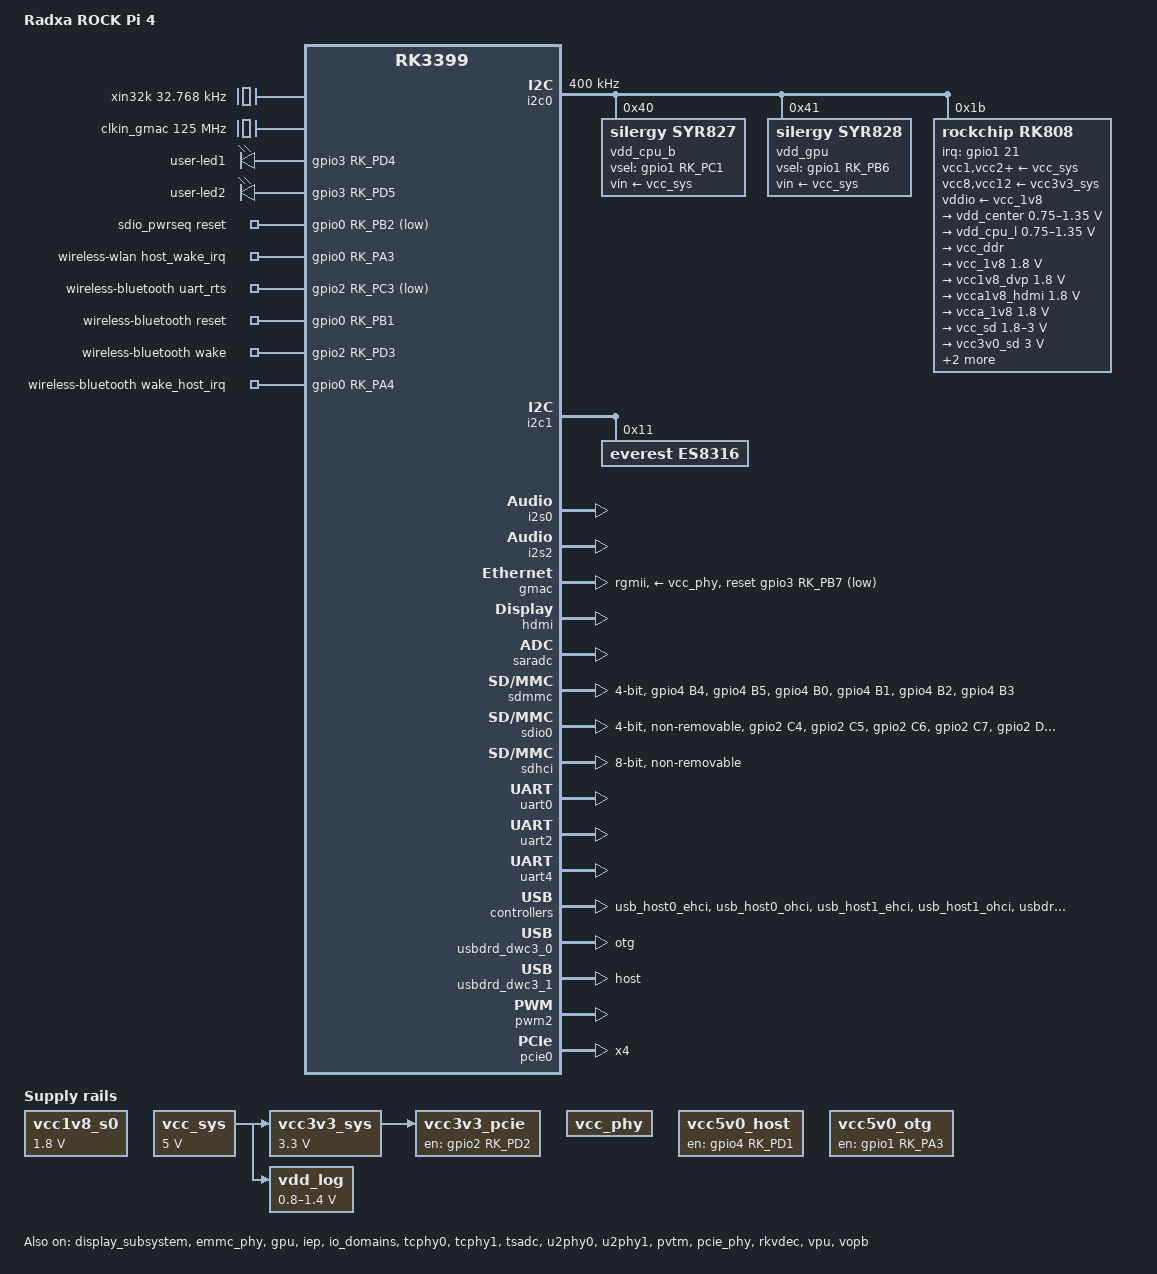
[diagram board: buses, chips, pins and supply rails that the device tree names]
/*
 * Copyright (c) 2016 Fuzhou Rockchip Electronics Co., Ltd
 *
 * This file is dual-licensed: you can use it either under the terms
 * of the GPL or the X11 license, at your option. Note that this dual
 * licensing only applies to this file, and not this project as a
 * whole.
 *
 *  a) This file is free software; you can redistribute it and/or
 *     modify it under the terms of the GNU General Public License as
 *     published by the Free Software Foundation; either version 2 of the
 *     License, or (at your option) any later version.
 *
 *     This file is distributed in the hope that it will be useful,
 *     but WITHOUT ANY WARRANTY; without even the implied warranty of
 *     MERCHANTABILITY or FITNESS FOR A PARTICULAR PURPOSE.  See the
 *     GNU General Public License for more details.
 *
 * Or, alternatively,
 *
 *  b) Permission is hereby granted, free of charge, to any person
 *     obtaining a copy of this software and associated documentation
 *     files (the "Software"), to deal in the Software without
 *     restriction, including without limitation the rights to use,
 *     copy, modify, merge, publish, distribute, sublicense, and/or
 *     sell copies of the Software, and to permit persons to whom the
 *     Software is furnished to do so, subject to the following
 *     conditions:
 *
 *     The above copyright notice and this permission notice shall be
 *     included in all copies or substantial portions of the Software.
 *
 *     THE SOFTWARE IS PROVIDED "AS IS", WITHOUT WARRANTY OF ANY KIND,
 *     EXPRESS OR IMPLIED, INCLUDING BUT NOT LIMITED TO THE WARRANTIES
 *     OF MERCHANTABILITY, FITNESS FOR A PARTICULAR PURPOSE AND
 *     NONINFRINGEMENT. IN NO EVENT SHALL THE AUTHORS OR COPYRIGHT
 *     HOLDERS BE LIABLE FOR ANY CLAIM, DAMAGES OR OTHER LIABILITY,
 *     WHETHER IN AN ACTION OF CONTRACT, TORT OR OTHERWISE, ARISING
 *     FROM, OUT OF OR IN CONNECTION WITH THE SOFTWARE OR THE USE OR
 *     OTHER DEALINGS IN THE SOFTWARE.
 */

/dts-v1/;
#include <dt-bindings/pwm/pwm.h>
#include <dt-bindings/input/input.h>
#include "rk3399.dtsi"
#include "rk3399-linux.dtsi"
#include "rk3399-opp.dtsi"

/ {
	model = "Radxa ROCK Pi 4";
	compatible = "radxa,rockpi4", "rockchip,rk3399";

	xin32k: xin32k {
		compatible = "fixed-clock";
		clock-frequency = <32768>;
		clock-output-names = "xin32k";
		#clock-cells = <0>;
	};

	clkin_gmac: external-gmac-clock {
		compatible = "fixed-clock";
		clock-frequency = <125000000>;
		clock-output-names = "clkin_gmac";
		#clock-cells = <0>;
	};

	vcc1v8_s0: vcc1v8-s0 {
		compatible = "regulator-fixed";
		regulator-name = "vcc1v8_s0";
		regulator-min-microvolt = <1800000>;
		regulator-max-microvolt = <1800000>;
		regulator-always-on;
	};

	vcc_sys: vcc-sys {
		compatible = "regulator-fixed";
		regulator-name = "vcc_sys";
		regulator-min-microvolt = <5000000>;
		regulator-max-microvolt = <5000000>;
		regulator-always-on;
	};

	vcc_phy: vcc-phy-regulator {
		compatible = "regulator-fixed";
		regulator-name = "vcc_phy";
		regulator-always-on;
		regulator-boot-on;
	};

	vcc3v3_sys: vcc3v3-sys {
		compatible = "regulator-fixed";
		regulator-name = "vcc3v3_sys";
		regulator-min-microvolt = <3300000>;
		regulator-max-microvolt = <3300000>;
		regulator-always-on;
		vin-supply = <&vcc_sys>;
	};

	vcc3v3_pcie: vcc3v3-pcie-regulator {
		compatible = "regulator-fixed";
		enable-active-high;
		gpio = <&gpio2 RK_PD2 GPIO_ACTIVE_HIGH>;
		pinctrl-names = "default";
		pinctrl-0 = <&pcie_drv>;
		regulator-boot-on;
		regulator-always-on;
		regulator-name = "vcc3v3_pcie";
		vin-supply = <&vcc3v3_sys>;
	};

	vcc5v0_host: vcc5v0-host-regulator {
		compatible = "regulator-fixed";
		enable-active-high;
		gpio = <&gpio4 RK_PD1 GPIO_ACTIVE_HIGH>;
		pinctrl-names = "default";
		pinctrl-0 = <&host_vbus_drv>;
		regulator-name = "vcc5v0_host";
		regulator-always-on;
	};

	vcc5v0_otg: vcc5v0-otg-regulator {
		compatible = "regulator-fixed";
		enable-active-high;
		gpio = <&gpio1 RK_PA3 GPIO_ACTIVE_HIGH>;
		pinctrl-names = "default";
		pinctrl-0 = <&otg_vbus_drv>;
		regulator-name = "vcc5v0_otg";
		regulator-always-on;
	};

	vdd_log: vdd-log {
		compatible = "pwm-regulator";
		pwms = <&pwm2 0 25000 1>;
		regulator-name = "vdd_log";
		regulator-min-microvolt = <800000>;
		regulator-max-microvolt = <1400000>;
		regulator-always-on;
		regulator-boot-on;

		/* for rockchip boot on */
		rockchip,pwm_id= <2>;
		rockchip,pwm_voltage = <900000>;

		vin-supply = <&vcc_sys>;
	};

	leds {
		compatible = "gpio-leds";

		user-led1 {
			gpios=<&gpio3 RK_PD4 GPIO_ACTIVE_HIGH>;
			linux,default-trigger = "mmc0";
		};

		user-led2 {
			gpios=<&gpio3 RK_PD5 GPIO_ACTIVE_HIGH>;
			linux,default-trigger = "heartbeat";
		};
	};

	hdmi-sound {
		compatible = "simple-audio-card";
		simple-audio-card,format = "i2s";
		simple-audio-card,mclk-fs = <256>;
		simple-audio-card,name = "HDMI";
		simple-audio-card,cpu {
			sound-dai = <&i2s2>;
		};
		simple-audio-card,codec {
			sound-dai = <&hdmi>;
		};
	};

	es8316-sound {
		compatible = "simple-audio-card";
		simple-audio-card,format = "i2s";
		simple-audio-card,name = "ES8316";
		simple-audio-card,mclk-fs = <256>;
		simple-audio-card,widgets =
			"Microphone", "Mic Jack",
			"Headphone", "Headphone Jack";
		simple-audio-card,routing =
			"Mic Jack", "MICBIAS1",
			"IN1P", "Mic Jack",
			"Headphone Jack", "HPOL",
			"Headphone Jack", "HPOR";
		simple-audio-card,cpu {
			sound-dai = <&i2s0>;
		};
		simple-audio-card,codec {
			sound-dai = <&es8316>;
		};
	};

	sdio_pwrseq: sdio-pwrseq {
		compatible = "mmc-pwrseq-simple";
		clocks = <&rk808 1>;
		clock-names = "ext_clock";
		pinctrl-names = "default";
		pinctrl-0 = <&wifi_enable_h>;

		/*
		 * On the module itself this is one of these (depending
		 * on the actual card populated):
		 * - SDIO_RESET_L_WL_REG_ON
		 * - PDN (power down when low)
		 */
		reset-gpios = <&gpio0 RK_PB2 GPIO_ACTIVE_LOW>;
	};

	wireless-wlan {
		compatible = "wlan-platdata";
		rockchip,grf = <&grf>;
		wifi_chip_type = "ap6256";
		sdio_vref = <1800>;
		WIFI,host_wake_irq = <&gpio0 RK_PA3 GPIO_ACTIVE_HIGH>;
		status = "okay";
	};

	wireless-bluetooth {
		compatible = "bluetooth-platdata";
		clocks = <&rk808 1>;
		clock-names = "ext_clock";
		uart_rts_gpios = <&gpio2 RK_PC3 GPIO_ACTIVE_LOW>;
		pinctrl-names = "default", "rts_gpio";
		pinctrl-0 = <&uart0_rts>;
		pinctrl-1 = <&uart0_gpios>;
		BT,reset_gpio    = <&gpio0 RK_PB1 GPIO_ACTIVE_HIGH>;
		BT,wake_gpio     = <&gpio2 RK_PD3 GPIO_ACTIVE_HIGH>;
		BT,wake_host_irq = <&gpio0 RK_PA4 GPIO_ACTIVE_HIGH>;
		status = "okay";
	};
};

&cpu_l0 {
	cpu-supply = <&vdd_cpu_l>;
};

&cpu_l1 {
	cpu-supply = <&vdd_cpu_l>;
};

&cpu_l2 {
	cpu-supply = <&vdd_cpu_l>;
};

&cpu_l3 {
	cpu-supply = <&vdd_cpu_l>;
};

&cpu_b0 {
	cpu-supply = <&vdd_cpu_b>;
};

&cpu_b1 {
	cpu-supply = <&vdd_cpu_b>;
};

&display_subsystem {
	status = "okay";

	route {
		route_hdmi: route-hdmi {
			status = "okay";
			connect = <&vopb_out_hdmi>;
		};
	};
};

&emmc_phy {
	status = "okay";
};

&i2c0 {
	status = "okay";
	i2c-scl-rising-time-ns = <168>;
	i2c-scl-falling-time-ns = <4>;
	clock-frequency = <400000>;

	vdd_cpu_b: syr827@40 {
		compatible = "silergy,syr827";
		reg = <0x40>;
		regulator-compatible = "fan53555-reg";
		pinctrl-0 = <&vsel1_gpio>;
		vsel-gpios = <&gpio1 RK_PC1 GPIO_ACTIVE_HIGH>;
		regulator-name = "vdd_cpu_b";
		regulator-min-microvolt = <712500>;
		regulator-max-microvolt = <1500000>;
		regulator-ramp-delay = <1000>;
		fcs,suspend-voltage-selector = <1>;
		regulator-always-on;
		regulator-boot-on;
		vin-supply = <&vcc_sys>;
		regulator-state-mem {
			regulator-off-in-suspend;
		};
	};

	vdd_gpu: syr828@41 {
		compatible = "silergy,syr828";
		reg = <0x41>;
		regulator-compatible = "fan53555-reg";
		pinctrl-0 = <&vsel2_gpio>;
		vsel-gpios = <&gpio1 RK_PB6 GPIO_ACTIVE_HIGH>;
		regulator-name = "vdd_gpu";
		regulator-min-microvolt = <712500>;
		regulator-max-microvolt = <1500000>;
		regulator-ramp-delay = <1000>;
		fcs,suspend-voltage-selector = <1>;
		regulator-always-on;
		regulator-boot-on;
		vin-supply = <&vcc_sys>;
		regulator-initial-mode = <1>; /* 1:force PWM 2:auto */
		regulator-state-mem {
			regulator-off-in-suspend;
		};
	};

	rk808: pmic@1b {
		compatible = "rockchip,rk808";
		reg = <0x1b>;
		interrupt-parent = <&gpio1>;
		interrupts = <21 IRQ_TYPE_LEVEL_LOW>;
		pinctrl-names = "default";
		pinctrl-0 = <&pmic_int_l>;
		rockchip,system-power-controller;
		wakeup-source;
		#clock-cells = <1>;
		clock-output-names = "rk808-clkout1", "rk808-clkout2";

		vcc1-supply = <&vcc_sys>;
		vcc2-supply = <&vcc_sys>;
		vcc3-supply = <&vcc_sys>;
		vcc4-supply = <&vcc_sys>;
		vcc6-supply = <&vcc_sys>;
		vcc7-supply = <&vcc_sys>;
		vcc8-supply = <&vcc3v3_sys>;
		vcc9-supply = <&vcc_sys>;
		vcc10-supply = <&vcc_sys>;
		vcc11-supply = <&vcc_sys>;
		vcc12-supply = <&vcc3v3_sys>;
		vddio-supply = <&vcc_1v8>;

		regulators {
			vdd_center: DCDC_REG1 {
				regulator-name = "vdd_center";
				regulator-min-microvolt = <750000>;
				regulator-max-microvolt = <1350000>;
				regulator-ramp-delay = <6001>;
				regulator-always-on;
				regulator-boot-on;
				regulator-state-mem {
					regulator-off-in-suspend;
				};
			};

			vdd_cpu_l: DCDC_REG2 {
				regulator-name = "vdd_cpu_l";
				regulator-min-microvolt = <750000>;
				regulator-max-microvolt = <1350000>;
				regulator-ramp-delay = <6001>;
				regulator-always-on;
				regulator-boot-on;
				regulator-state-mem {
					regulator-off-in-suspend;
				};
			};

			vcc_ddr: DCDC_REG3 {
				regulator-name = "vcc_ddr";
				regulator-always-on;
				regulator-boot-on;
				regulator-state-mem {
					regulator-on-in-suspend;
				};
			};

			vcc_1v8: DCDC_REG4 {
				regulator-name = "vcc_1v8";
				regulator-min-microvolt = <1800000>;
				regulator-max-microvolt = <1800000>;
				regulator-always-on;
				regulator-boot-on;
				regulator-state-mem {
					regulator-on-in-suspend;
					regulator-suspend-microvolt = <1800000>;
				};
			};

			vcc1v8_dvp: LDO_REG1 {
				regulator-name = "vcc1v8_codec";
				regulator-min-microvolt = <1800000>;
				regulator-max-microvolt = <1800000>;
				regulator-always-on;
				regulator-boot-on;
				regulator-state-mem {
					regulator-on-in-suspend;
					regulator-suspend-microvolt = <1800000>;
				};
			};

			vcca1v8_hdmi: LDO_REG2 {
				regulator-name = "vcca1v8_hdmi";
				regulator-min-microvolt = <1800000>;
				regulator-max-microvolt = <1800000>;
				regulator-always-on;
				regulator-boot-on;
				regulator-state-mem {
					regulator-on-in-suspend;
					regulator-suspend-microvolt = <1800000>;
				};
			};

			vcca_1v8: LDO_REG3 {
				regulator-name = "vcca_1v8";
				regulator-min-microvolt = <1800000>;
				regulator-max-microvolt = <1800000>;
				regulator-always-on;
				regulator-boot-on;
				regulator-state-mem {
					regulator-on-in-suspend;
					regulator-suspend-microvolt = <1800000>;
				};
			};

			vcc_sd: LDO_REG4 {
				regulator-name = "vcc_sd";
				regulator-min-microvolt = <1800000>;
				regulator-max-microvolt = <3000000>;
				regulator-always-on;
				regulator-boot-on;
				regulator-state-mem {
					regulator-on-in-suspend;
					regulator-suspend-microvolt = <3000000>;
				};
			};

			vcc3v0_sd: LDO_REG5 {
				regulator-name = "vcc3v0_sd";
				regulator-min-microvolt = <3000000>;
				regulator-max-microvolt = <3000000>;
				regulator-always-on;
				regulator-boot-on;
				regulator-state-mem {
					regulator-on-in-suspend;
					regulator-suspend-microvolt = <3000000>;
				};
			};

			vcc_1v5: LDO_REG6 {
				regulator-name = "vcc_1v5";
				regulator-min-microvolt = <1500000>;
				regulator-max-microvolt = <1500000>;
				regulator-always-on;
				regulator-boot-on;
				regulator-state-mem {
					regulator-on-in-suspend;
					regulator-suspend-microvolt = <1500000>;
				};
			};

			vcca0v9_hdmi: LDO_REG7 {
				regulator-name = "vcca0v9_hdmi";
				regulator-min-microvolt = <900000>;
				regulator-max-microvolt = <900000>;
				regulator-always-on;
				regulator-boot-on;
				regulator-state-mem {
					regulator-on-in-suspend;
					regulator-suspend-microvolt = <900000>;
				};
			};

			vcc_3v0: LDO_REG8 {
				regulator-name = "vcc_3v0";
				regulator-min-microvolt = <3000000>;
				regulator-max-microvolt = <3000000>;
				regulator-always-on;
				regulator-boot-on;
				regulator-state-mem {
					regulator-on-in-suspend;
					regulator-suspend-microvolt = <3000000>;
				};
			};

			vcc3v3_s3: SWITCH_REG1 {
				regulator-name = "vcc3v3_s3";
				regulator-always-on;
				regulator-boot-on;
				regulator-state-mem {
					regulator-on-in-suspend;
				};
			};

			vcc3v3_s0: SWITCH_REG2 {
				regulator-name = "vcc3v3_s0";
				regulator-always-on;
				regulator-boot-on;
				regulator-state-mem {
					regulator-on-in-suspend;
				};
			};
		};
	};
};

&i2c1 {
	status = "okay";
	i2c-scl-rising-time-ns = <300>;
	i2c-scl-falling-time-ns = <15>;

	es8316: es8316@11 {
		#sound-dai-cells = <0>;
		compatible = "everest,es8316";
		reg = <0x11>;
		clocks = <&cru SCLK_I2S_8CH_OUT>;
		clock-names = "mclk";
		pinctrl-names = "default";
		pinctrl-0 = <&i2s_8ch_mclk>;
	};
};

&i2s0 {
	status = "okay";
	rockchip,i2s-broken-burst-len;
	rockchip,playback-channels = <8>;
	rockchip,capture-channels = <8>;
	#sound-dai-cells = <0>;
};

&i2s2 {
	#sound-dai-cells = <0>;
	rockchip,bclk-fs = <128>;
	status = "okay";
};

&gmac {
	phy-supply = <&vcc_phy>;
	phy-mode = "rgmii";
	clock_in_out = "input";
	snps,reset-gpio = <&gpio3 RK_PB7 GPIO_ACTIVE_LOW>;
	snps,reset-active-low;
	snps,reset-delays-us = <0 10000 50000>;
	assigned-clocks = <&cru SCLK_RMII_SRC>;
	assigned-clock-parents = <&clkin_gmac>;
	pinctrl-names = "default", "sleep";
	pinctrl-0 = <&rgmii_pins>;
	pinctrl-1 = <&rgmii_sleep_pins>;
	tx_delay = <0x28>;
	rx_delay = <0x11>;
	status = "okay";
};

&gpu {
	status = "okay";
	mali-supply = <&vdd_gpu>;
};

&hdmi {
	#address-cells = <1>;
	#size-cells = <0>;
	#sound-dai-cells = <0>;
	status = "okay";
};

&iep {
	status = "okay";
};

&iep_mmu {
	status = "okay";
};

&io_domains {
	status = "okay";

	bt656-supply = <&vcc_3v0>; /* bt656_gpio2ab_ms */
	audio-supply = <&vcc_3v0>; /* audio_gpio3d4a_ms */
	sdmmc-supply = <&vcc_sd>; /* sdmmc_gpio4b_ms */
	gpio1830-supply = <&vcc_3v0>; /* gpio1833_gpio4cd_ms */
};

&saradc {
	status = "okay";
};

&sdmmc {
	clock-frequency = <100000000>;
	max-frequency = <100000000>;
	supports-sd;
	bus-width = <4>;
	cap-mmc-highspeed;
	cap-sd-highspeed;
	disable-wp;
	num-slots = <1>;
	sd-uhs-sdr12;
	sd-uhs-sdr25;
	sd-uhs-sdr50;
	sd-uhs-sdr104;
	vqmmc-supply = <&vcc_sd>;
	pinctrl-names = "default";
	pinctrl-0 = <&sdmmc_clk &sdmmc_cmd &sdmmc_cd &sdmmc_bus4>;
	card-detect-delay = <800>;
	status = "okay";
};

&sdio0 {
	clock-frequency = <100000000>;
	max-frequency = <100000000>;
	supports-sdio;
	bus-width = <4>;
	disable-wp;
	cap-sd-highspeed;
	cap-sdio-irq;
	keep-power-in-suspend;
	mmc-pwrseq = <&sdio_pwrseq>;
	non-removable;
	num-slots = <1>;
	pinctrl-names = "default";
	pinctrl-0 = <&sdio0_bus4 &sdio0_cmd &sdio0_clk>;
	sd-uhs-sdr104;
	status = "okay";
};

&sdhci {
	bus-width = <8>;
	mmc-hs400-1_8v;
	mmc-hs400-enhanced-strobe;
	supports-emmc;
	non-removable;
	status = "okay";
};

&threshold {
	temperature = <85000>;
};

&target {
	temperature = <100000>;
};

&soc_crit {
	temperature = <105000>;
};

&tcphy0 {
	status = "okay";
};

&tcphy1 {
	status = "okay";
};

&tsadc {
	/* tshut mode 0:CRU 1:GPIO */
	rockchip,hw-tshut-mode = <1>;
	/* tshut polarity 0:LOW 1:HIGH */
	rockchip,hw-tshut-polarity = <1>;
	rockchip,hw-tshut-temp = <110000>;
	status = "okay";
};

&u2phy0 {
	status = "okay";
	enable-active-high;
	/* otg-vbus-gpios = <&gpio1 3 GPIO_ACTIVE_HIGH>;*/
	gpio = <&gpio1 3 GPIO_ACTIVE_HIGH>;

	u2phy0_otg: otg-port {
		status = "okay";
	};

	u2phy0_host: host-port {
		phy-supply = <&vcc5v0_host>;
		status = "okay";
	};
};

&u2phy1 {
	status = "okay";

	u2phy1_otg: otg-port {
		status = "okay";
	};

	u2phy1_host: host-port {
		phy-supply = <&vcc5v0_host>;
		status = "okay";
	};
};

&uart0 {
	pinctrl-names = "default";
	pinctrl-0 = <&uart0_xfer &uart0_cts>;
	status = "okay";
};

&uart2 {
	status = "okay";
};

&uart4 {
	status = "okay";
};

&usb_host0_ehci {
	status = "okay";
};

&usb_host0_ohci {
	status = "okay";
};

&usb_host1_ehci {
	status = "okay";
};

&usb_host1_ohci {
	status = "okay";
};

&usbdrd3_0 {
	extcon = <&u2phy0>;
	status = "okay";
};

&usbdrd_dwc3_0 {
	dr_mode = "otg";
	status = "okay";
};

&usbdrd3_1 {
	status = "okay";
};

&usbdrd_dwc3_1 {
	dr_mode = "host";
	status = "okay";
};

&pwm2 {
	status = "okay";
};

&pinctrl {
	gmac {
		rgmii_sleep_pins: rgmii-sleep-pins {
			rockchip,pins =
				<3 RK_PB7 RK_FUNC_GPIO &pcfg_output_low>;
		};
	};

	i2c4 {                                                                 
		i2c4_xfer: i2c4-xfer {
			rockchip,pins =
				<1 12 RK_FUNC_1 &pcfg_pull_up>,
				<1 11 RK_FUNC_1 &pcfg_pull_up>;
		};
	};

	i2s0 {
		i2s0_8ch_bus: i2s0-8ch-bus {
			rockchip,pins =
				<3 28 0 &pcfg_pull_none>,
				<3 29 0 &pcfg_pull_none>;
		};
	};

	pcie {
		pcie_drv: pcie-drv {
			rockchip,pins =
				<2 RK_PD2 RK_FUNC_GPIO &pcfg_pull_none>;
			};
	};

	pmic {
		pmic_int_l: pmic-int-l {
			rockchip,pins =
				<1 RK_PC5 RK_FUNC_GPIO &pcfg_pull_up>;
		};

		vsel1_gpio: vsel1-gpio {
			rockchip,pins =
				<1 RK_PC1 RK_FUNC_GPIO &pcfg_pull_down>;
		};

		vsel2_gpio: vsel2-gpio {
			rockchip,pins =
				<1 RK_PB6 RK_FUNC_GPIO &pcfg_pull_down>;
		};
	};

	sdio-pwrseq {
		wifi_enable_h: wifi-enable-h {
			rockchip,pins =
				<0 RK_PB2 RK_FUNC_GPIO &pcfg_pull_none>;
		};
	};

	sdio0 {
		sdio0_bus1: sdio0-bus1 {
			rockchip,pins =
				<2 RK_PC4 RK_FUNC_1 &pcfg_pull_up_20ma>;
		};

		sdio0_bus4: sdio0-bus4 {
			rockchip,pins =
				<2 RK_PC4 RK_FUNC_1 &pcfg_pull_up_20ma>,
				<2 RK_PC5 RK_FUNC_1 &pcfg_pull_up_20ma>,
				<2 RK_PC6 RK_FUNC_1 &pcfg_pull_up_20ma>,
				<2 RK_PC7 RK_FUNC_1 &pcfg_pull_up_20ma>;
		};

		sdio0_cmd: sdio0-cmd {
			rockchip,pins =
				<2 RK_PD0 RK_FUNC_1 &pcfg_pull_up_20ma>;
		};

		sdio0_clk: sdio0-clk {
			rockchip,pins =
				<2 RK_PD1 RK_FUNC_1 &pcfg_pull_none_20ma>;
		};
	};

	sdmmc {
		sdmmc_bus1: sdmmc-bus1 {
			rockchip,pins =
				<4 RK_PB0 RK_FUNC_1 &pcfg_pull_up_8ma>;
		};

		sdmmc_bus4: sdmmc-bus4 {
			rockchip,pins =
				<4 RK_PB0 RK_FUNC_1 &pcfg_pull_up_8ma>,
				<4 RK_PB1 RK_FUNC_1 &pcfg_pull_up_8ma>,
				<4 RK_PB2 RK_FUNC_1 &pcfg_pull_up_8ma>,
				<4 RK_PB3 RK_FUNC_1 &pcfg_pull_up_8ma>;
		};

		sdmmc_clk: sdmmc-clk {
			rockchip,pins =
				<4 RK_PB4 RK_FUNC_1 &pcfg_pull_none_18ma>;
		};

		sdmmc_cmd: sdmmc-cmd {
			rockchip,pins =
				<4 RK_PB5 RK_FUNC_1 &pcfg_pull_up_8ma>;
		};
	};

	usb2 {
		host_vbus_drv: host-vbus-drv {
			rockchip,pins =
				<4 RK_PD1 RK_FUNC_GPIO &pcfg_pull_none>;
		};

		otg_vbus_drv: otg-vbus-drv {
			rockchip,pins =
				<1 3 RK_FUNC_GPIO &pcfg_pull_none>;
		};
	};

	wireless-bluetooth {
		uart0_gpios: uart0-gpios {
			rockchip,pins =
				<2 RK_PC3 RK_FUNC_GPIO &pcfg_pull_none>;
		};
	};
};

&pvtm {
	status = "okay";
};

&pmu_pvtm {
	status = "okay";
};

&pmu_io_domains {
	status = "okay";
	pmu1830-supply = <&vcc_3v0>;
};

&pcie_phy {
	status = "okay";
};

&pcie0 {
	ep-gpios = <&gpio4 27 GPIO_ACTIVE_HIGH>;
	num-lanes = <4>;
	pinctrl-names = "default";
	pinctrl-0 = <&pcie_clkreqnb_cpm>;
	status = "okay";
};

&rkvdec {
	status = "okay";
};

&vdec_mmu {
	status = "okay";
};

&vpu {
	status = "okay";
};

&vpu_mmu {
	status = "okay";
};

&vopb {
	status = "okay";
};

&vopb_mmu {
	status = "okay";
};

&vopl {
	status = "disabled";
};

&vopl_mmu {
	status = "disabled";
};
